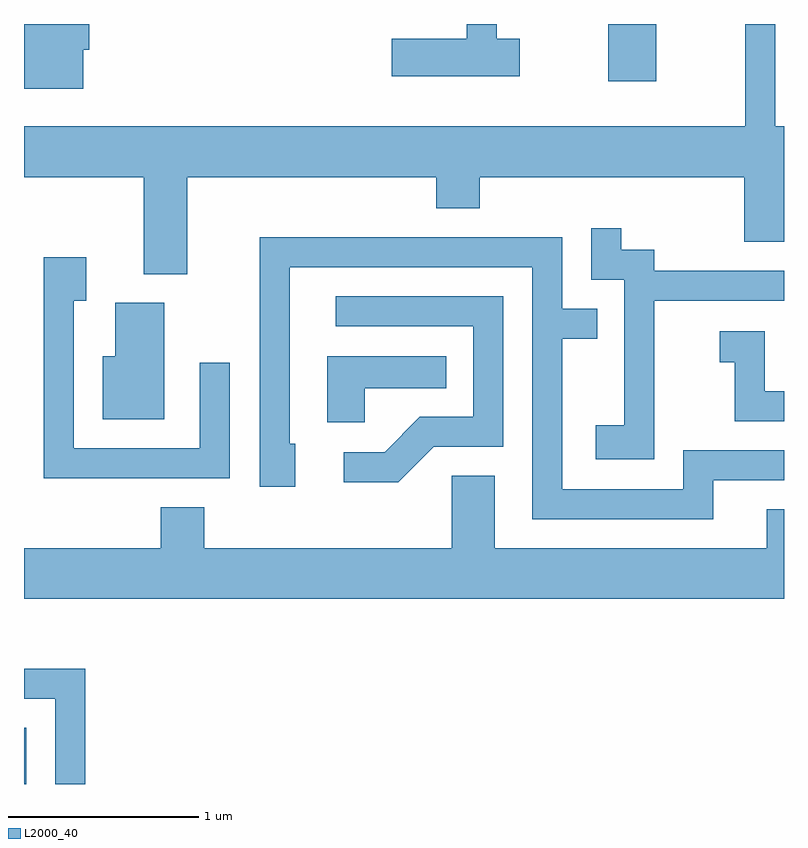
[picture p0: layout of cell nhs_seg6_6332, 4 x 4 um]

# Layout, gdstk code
import gdstk
lib = gdstk.Library(unit=1e-6, precision=1e-09)
def R(c, l, rs):  # rectangles x0, y0, x1, y1
    for r in rs: c.add(gdstk.rectangle(r[:2], r[2:], *l))
def P(c, l, *ps):  # polygons
    for p in ps: c.add(gdstk.Polygon(p, *l))
L2000_40 = (2000, 40)

nhs_seg6_6332 = lib.new_cell('nhs_seg6_6332')
R(nhs_seg6_6332, L2000_40, [(377.611,1560.162,377.624,1560.459), (380.686,1563.861,380.939,1564.162)])
P(nhs_seg6_6332, L2000_40, [(380.219,1564.084),(380.099,1564.084),(380.099,1564.162),(379.941,1564.162),(379.941,1564.084),(379.546,1564.084),(379.546,1563.886),(380.219,1563.886)],
  [(378.469,1563.356),(379.781,1563.356),(379.781,1563.191),(380.009,1563.191),(380.009,1563.356),(381.401,1563.356),(381.401,1563.016),(381.611,1563.016),(381.611,1563.624),(381.564,1563.624),(381.564,1564.162),(381.406,1564.162),(381.406,1563.624),(377.611,1563.624),(377.611,1563.356),(378.241,1563.356),(378.241,1562.846),(378.469,1562.846)],
  [(377.924,1564.026),(377.954,1564.026),(377.954,1564.162),(377.611,1564.162),(377.611,1563.821),(377.924,1563.821)],
  [(380.929,1562.706),(381.611,1562.706),(381.611,1562.864),(380.929,1562.864),(380.929,1562.974),(380.754,1562.974),(380.754,1563.088),(380.596,1563.088),(380.596,1562.816),(380.771,1562.816),(380.771,1562.049),(380.621,1562.049),(380.621,1561.871),(380.929,1561.871)],
  [(381.239,1561.761),(381.611,1561.761),(381.611,1561.919),(381.081,1561.919),(381.081,1561.714),(380.444,1561.714),(380.444,1562.506),(380.628,1562.506),(380.628,1562.664),(380.444,1562.664),(380.444,1563.039),(378.851,1563.039),(378.851,1561.726),(379.039,1561.726),(379.039,1561.954),(379.009,1561.954),(379.009,1562.881),(380.286,1562.881),(380.286,1561.556),(381.239,1561.556)],
  [(378.694,1562.378),(378.536,1562.378),(378.536,1561.929),(377.874,1561.929),(377.874,1562.706),(377.939,1562.706),(377.939,1562.934),(377.716,1562.934),(377.716,1561.771),(378.694,1561.771)],
  [(379.767,1561.936),(380.134,1561.936),(380.134,1562.729),(379.253,1562.729),(379.253,1562.571),(379.976,1562.571),(379.976,1562.094),(379.694,1562.094),(379.509,1561.909),(379.293,1561.909),(379.293,1561.751),(379.582,1561.751)],
  [(378.349,1562.694),(378.091,1562.694),(378.091,1562.414),(378.026,1562.414),(378.026,1562.081),(378.349,1562.081)],
  [(381.611,1562.229),(381.509,1562.229),(381.509,1562.544),(381.273,1562.544),(381.273,1562.381),(381.351,1562.381),(381.351,1562.071),(381.611,1562.071)],
  [(379.404,1562.246),(379.833,1562.246),(379.833,1562.414),(379.206,1562.414),(379.206,1562.066),(379.404,1562.066)],
  [(381.611,1561.609),(381.521,1561.609),(381.521,1561.404),(380.089,1561.404),(380.089,1561.784),(379.861,1561.784),(379.861,1561.404),(378.559,1561.404),(378.559,1561.619),(378.331,1561.619),(378.331,1561.404),(377.611,1561.404),(377.611,1561.136),(381.611,1561.136)],
  [(377.934,1560.769),(377.611,1560.769),(377.611,1560.611),(377.776,1560.611),(377.776,1560.162),(377.934,1560.162)])

lib.write_gds('nhs_seg6_6332.gds')
